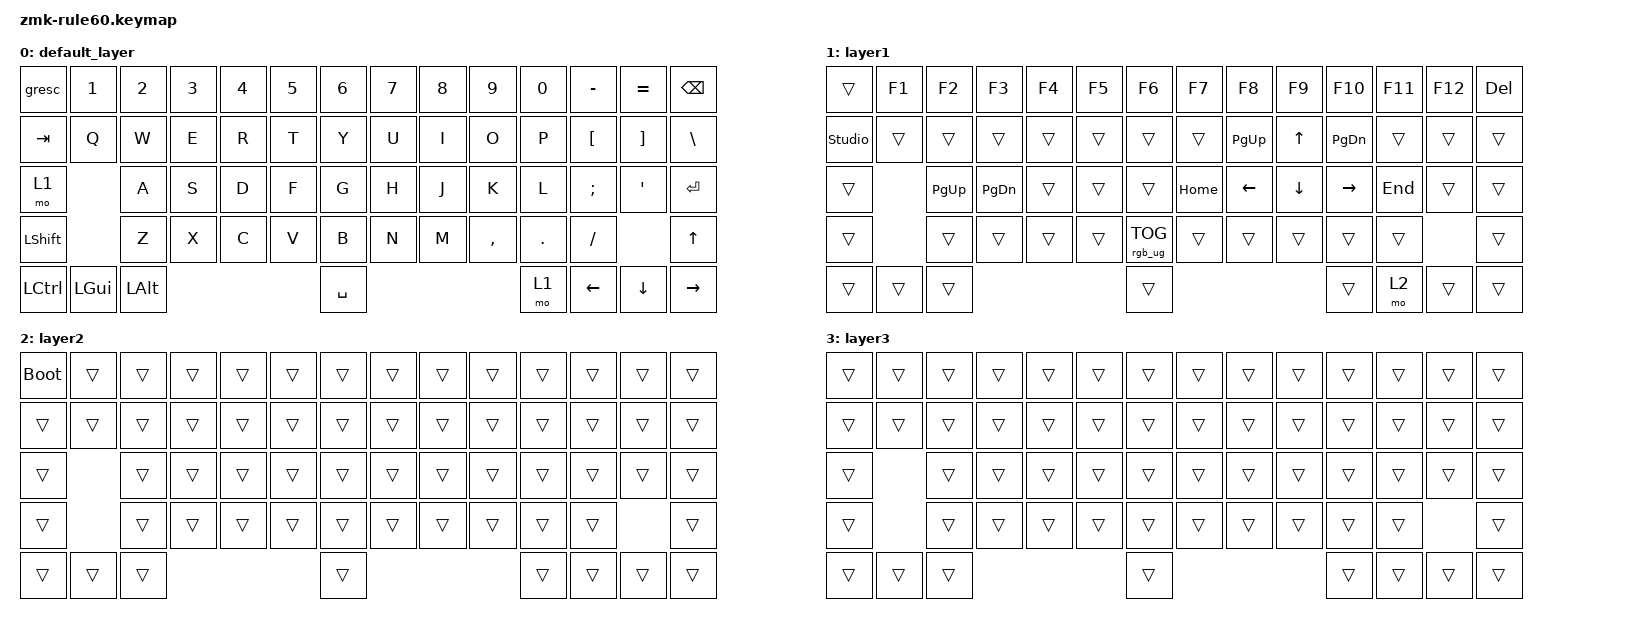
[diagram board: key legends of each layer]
/*
 * Copyright (c) 2021 Nick Winans
 *
 * SPDX-License-Identifier: MIT
 */

#include <behaviors.dtsi>
#include <dt-bindings/zmk/keys.h>
#include <dt-bindings/zmk/rgb.h>
#include <dt-bindings/zmk/bt.h>

#define ZMK_POINTING_DEFAULT_MOVE_VAL 3000  // default: 600
#define ZMK_POINTING_DEFAULT_SCRL_VAL 40    // default: 10

#include <dt-bindings/zmk/pointing.h>


&soft_off {
  hold-time-ms = <3000>; 
};

/ {
    keymap {
        compatible = "zmk,keymap";

        default_layer {
            // ----------------------------------------------------------------------------------------------
            // | ESC   |  1    |  2    |  3  |  4  |  5  |  6  |  7  |  8  |  9  |  0  |  -  |  =   | BSPC  |
            // | TAB   |  Q    |  W    |  E  |  R  |  T  |  Y  |  U  |  I  |  O  |  P  |  [  |  ]   | "|"   |
            // | CAPS  |       |  A    |  S  |  D  |  F  |  G  |  H  |  J  |  K  |  L  |  ;  |  '   | ENTER |
            // | SHIFT |       |  Z    |  X  |  C  |  V  |  B  |  N  |  M  |  ,  |  .  |  /  |      | SHIFT |
            // | CTL   |  WIN  |  ALT  |     |     |     |SPACE|     |     |     |MO(1)| WIN | ALT  |  CTL  |
            // ----------------------------------------------------------------------------------------------
            bindings = <
            &gresc    &kp N1    &kp N2    &kp N3 &kp N4 &kp N5 &kp N6 &kp N7 &kp N8 &kp N9    &kp N0    &kp MINUS &kp EQUAL &kp BSPC
            &kp TAB   &kp Q     &kp W     &kp E  &kp R  &kp T  &kp Y  &kp U  &kp I  &kp O     &kp P     &kp LBKT  &kp RBKT  &kp BSLH
            &mo 1               &kp A     &kp S  &kp D  &kp F  &kp G  &kp H  &kp J  &kp K     &kp L     &kp SEMI  &kp SQT   &kp RET
            &kp LSHFT           &kp Z     &kp X  &kp C  &kp V  &kp B  &kp N  &kp M  &kp COMMA &kp DOT   &kp FSLH            &kp UP
            &kp LCTRL &kp LGUI  &kp LALT                       &kp SPACE                      &mo 1     &kp LEFT  &kp DOWN  &kp RIGHT
          >;
        };

        layer1 {
          bindings = <
            &trans          &kp F1  &kp F2    &kp F3    &kp F4  &kp F5  &kp F6          &kp F7    &kp F8    &kp F9    &kp F10   &kp F11 &kp F12 &kp DEL
            &studio_unlock  &trans  &trans    &trans    &trans  &trans  &trans          &trans    &kp PG_UP &kp UP    &kp PG_DN &trans  &trans  &trans
            &trans                  &kp PG_UP &kp PG_DN &trans  &trans  &trans          &kp HOME  &kp LEFT  &kp DOWN  &kp RIGHT &kp END &trans  &trans
            &trans                  &trans    &trans    &trans  &trans  &rgb_ug RGB_TOG &trans    &trans    &trans    &trans    &trans          &trans
            &trans          &trans  &trans                              &trans                                      &trans    &mo 2   &trans  &trans
          >;
        };

        layer2 {
          bindings = <
            &bootloader &trans  &trans  &trans  &trans  &trans  &trans  &trans  &trans  &trans  &trans  &trans  &trans  &trans
            &trans      &trans  &trans  &trans  &trans  &trans  &trans  &trans  &trans  &trans  &trans  &trans  &trans  &trans
            &trans              &trans  &trans  &trans  &trans  &trans  &trans  &trans  &trans  &trans  &trans  &trans  &trans
            &trans              &trans  &trans  &trans  &trans  &trans  &trans  &trans  &trans  &trans  &trans          &trans
            &trans      &trans  &trans                          &trans                          &trans  &trans  &trans  &trans
          >;
        };

        layer3 {
          bindings = <
            &trans  &trans  &trans  &trans  &trans  &trans  &trans  &trans  &trans  &trans  &trans  &trans  &trans  &trans
            &trans  &trans  &trans  &trans  &trans  &trans  &trans  &trans  &trans  &trans  &trans  &trans  &trans  &trans
            &trans          &trans  &trans  &trans  &trans  &trans  &trans  &trans  &trans  &trans  &trans  &trans  &trans
            &trans          &trans  &trans  &trans  &trans  &trans  &trans  &trans  &trans  &trans  &trans          &trans
            &trans  &trans  &trans                          &trans                          &trans  &trans  &trans  &trans
          >;            
        };        
    };
};
